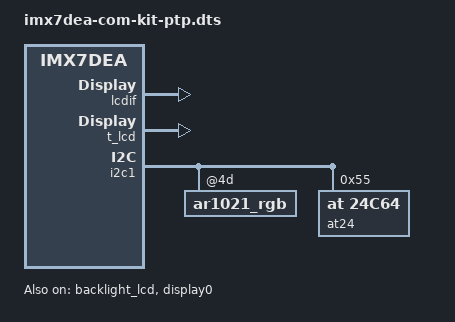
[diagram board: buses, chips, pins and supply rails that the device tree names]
/*
 * Copyright (C) 2015 Freescale Semiconductor, Inc.
 *
 * This program is free software; you can redistribute it and/or modify
 * it under the terms of the GNU General Public License version 2 as
 * published by the Free Software Foundation.
 */

#include "imx7dea-com-kit.dts"

&lcdif {
        status = "okay";
};
&t_lcd {
        status = "okay";
};
&backlight_lcd {
        status = "okay";
};
&display0 {
        status = "okay";
};
&i2c1 {
        ar1021_rgb@4d {
	        status = "okay";
        };
        egalax_ts_rgb@04 {
                status = "disabled";
        };
        edt-ft5x06_rgb@38 {
                status = "disabled";
        };
        ilitek_aim_rgb@41 {
                status = "disabled";
        };
        mxt1664_ts_rgb@4b {
                status = "disabled";
        };
        sitronix_rgb@55 {
                status = "disabled";
        };

        at24@55 {
                compatible = "at,24c64";
                pagesize = <32>;
                reg = <0x55>;
        };
};
